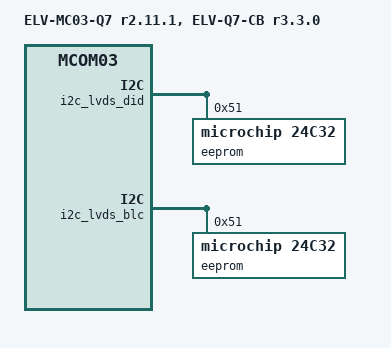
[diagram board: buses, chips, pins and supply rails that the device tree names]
// SPDX-License-Identifier: GPL-2.0+
// Copyright 2025 RnD Center "ELVEES", JSC

#include "mcom03-elvmc03q7-r2.8.1-elvq7cb-r3.3.0-b156xw02-v0r.dts"

/ {
	model = "ELV-MC03-Q7 r2.11.1, ELV-Q7-CB r3.3.0";
	compatible = "elvees,elvmc03q7-r2.11.1-elvq7cb-r3.3.0-b156xw02-v0r",
		     "elvees,elvmc03q7-r2.11.1-elvq7cb-r3.3.0",
		     "elvees,elvmc03q7-elvq7cb",
		     "elvees,elvq7cb-r3.3.0",
		     "elvees,elvq7cb",
		     "elvees,elvmc03q7-r2.11.1",
		     "elvees,elvmc03q7",
		     "elvees,mcom03";
};

/*
 * This EEPROM is connected to I2C_DID(XP9) and I2C_BLC(XP10) connectors for
 * testing purposes and is not part of this board.
 */
&i2c_lvds_did {
	eeprom@51 {
		compatible = "microchip,24c32", "atmel,24c32";
		reg = <0x51>;
	};
};

&i2c_lvds_blc {
	eeprom@51 {
		compatible = "microchip,24c32", "atmel,24c32";
		reg = <0x51>;
	};
};
